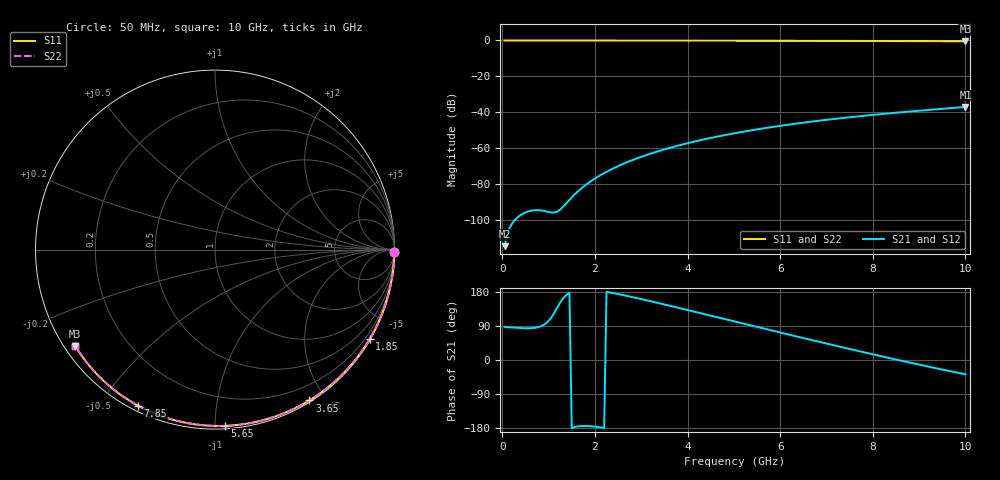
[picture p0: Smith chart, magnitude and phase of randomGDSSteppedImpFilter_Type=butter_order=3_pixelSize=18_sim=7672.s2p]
! freq	dB(S11)	phase(S11)	dB(S12)	phase(S12)
!  dB(S21)	phase(S21)	dB(S22)	phase(S22)
!S-par simulation data
#  GHz  S  DB  R 50
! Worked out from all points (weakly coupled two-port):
!   200 points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, 50 MHz to 10 GHz, reference 50 ohm
!   highest |S21| = -37.11 dB at 10 GHz (marker M1); lowest = -114.8 dB at 50 MHz (marker M2)
!   lowest |S11| = -0.5 dB at 10 GHz (marker M3), VSWR 35.74, Z = 1.53 - j15.5 ohm
!   |S11| at or under -10 dB: nowhere
!   |S22| runs from -0.5 to 0.0 dB; largest |S21 - S12| = 0
!   S11 on the Smith chart (normalised r, x): 50 MHz: open; 1.85 GHz: 0.03, -3.72; 3.65 GHz: 0.02, -1.80; 5.65 GHz: 0.02, -1.06; 7.85 GHz: 0.02, -0.62; 10 GHz: 0.03, -0.31
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0.05  -0.01 -0.8  -114.78 87.6  -114.78 87.6  -0.01 -0.8
0.9  -0.02 -14.8  -95.10 93.0  -95.10 93.0  -0.02 -14.8
1.75  -0.04 -28.5  -81.66 -174.1  -81.66 -174.1  -0.04 -28.5
1.8  -0.04 -29.3  -80.65 -174.1  -80.65 -174.1  -0.04 -29.3
1.85  -0.04 -30.1  -79.69 -174.3  -79.69 -174.3  -0.04 -30.1
2  -0.04 -32.5  -77.06 -175.8  -77.06 -175.8  -0.04 -32.5
2.15  -0.04 -34.9  -74.73 -178.3  -74.73 -178.3  -0.04 -34.8
2.35  -0.05 -38.0  -71.98 177.6  -71.98 177.6  -0.05 -38.0
2.55  -0.05 -41.1  -69.54 172.8  -69.54 172.8  -0.05 -41.1
2.95  -0.06 -47.3  -65.40 162.2  -65.40 162.2  -0.06 -47.3
3.4  -0.07 -54.2  -61.55 149.5  -61.55 149.5  -0.07 -54.2
3.65  -0.08 -58.0  -59.69 142.2  -59.69 142.2  -0.08 -57.9
4.3  -0.10 -67.6  -55.52 123.0  -55.52 123.0  -0.09 -67.6
5.05  -0.12 -78.4  -51.62 100.6  -51.62 100.6  -0.12 -78.3
5.65  -0.14 -86.8  -49.00 82.8  -49.00 82.8  -0.14 -86.7
6.15  -0.17 -93.7  -47.09 68.1  -47.09 68.1  -0.17 -93.6
6.7  -0.19 -101.1  -45.22 52.0  -45.22 52.0  -0.19 -101.0
7.25  -0.23 -108.4  -43.55 36.2  -43.55 36.2  -0.23 -108.3
7.85  -0.27 -116.3  -41.91 19.2  -41.91 19.2  -0.27 -116.2
8.35  -0.31 -122.9  -40.68 5.4  -40.68 5.4  -0.31 -122.8
9.2  -0.39 -134.2  -38.78 -17.4  -38.78 -17.4  -0.39 -134.1
10  -0.49 -145.4  -37.11 -37.8  -37.11 -37.8  -0.49 -145.4
